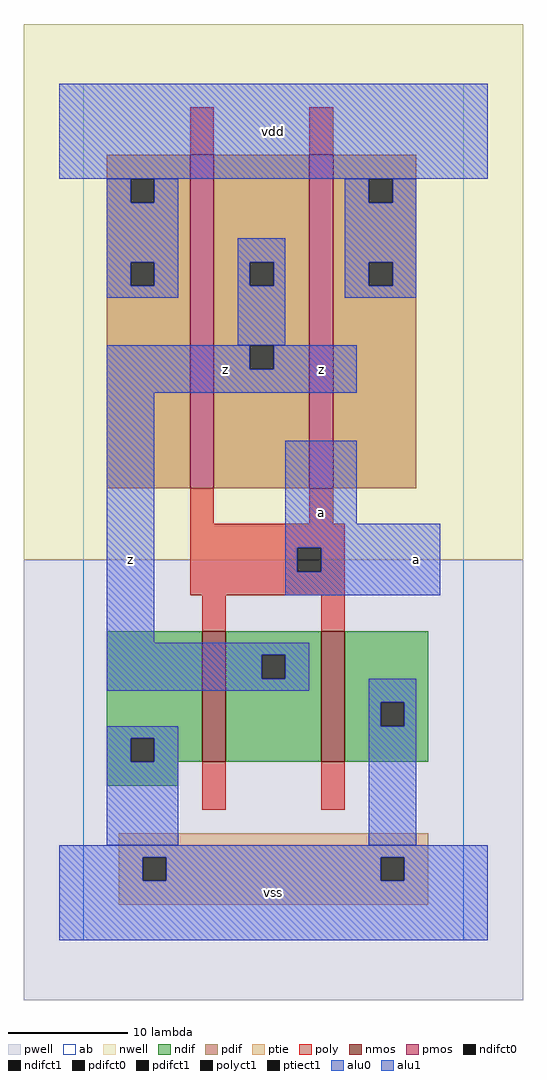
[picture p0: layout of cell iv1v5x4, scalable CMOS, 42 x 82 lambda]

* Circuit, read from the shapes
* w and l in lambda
.subckt iv1v5x4 a vdd vss z
M1 z a vss vss nfet w=11 l=2 m=2
M2 z a vdd n1 pfet w=28 l=2 m=2
.ends

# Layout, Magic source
magic
tech scmos
<< ab >>
rect 0 0 32 72
<< nwell >>
rect -5 32 37 77
<< pwell >>
rect -5 -5 37 32
<< poly >>
rect 9 66 11 70
rect 19 66 21 70
rect 9 35 11 38
rect 19 35 21 38
rect 9 33 22 35
rect 9 31 18 33
rect 20 31 22 33
rect 9 29 22 31
rect 10 26 12 29
rect 20 26 22 29
rect 10 11 12 15
rect 20 11 22 15
<< ndif >>
rect 2 17 10 26
rect 2 15 4 17
rect 6 15 10 17
rect 12 24 20 26
rect 12 22 15 24
rect 17 22 20 24
rect 12 15 20 22
rect 22 20 29 26
rect 22 18 25 20
rect 27 18 29 20
rect 22 15 29 18
rect 2 13 8 15
<< pdif >>
rect 2 64 9 66
rect 2 62 4 64
rect 6 62 9 64
rect 2 57 9 62
rect 2 55 4 57
rect 6 55 9 57
rect 2 38 9 55
rect 11 57 19 66
rect 11 55 14 57
rect 16 55 19 57
rect 11 50 19 55
rect 11 48 14 50
rect 16 48 19 50
rect 11 38 19 48
rect 21 64 28 66
rect 21 62 24 64
rect 26 62 28 64
rect 21 57 28 62
rect 21 55 24 57
rect 26 55 28 57
rect 21 38 28 55
<< alu1 >>
rect -2 64 34 72
rect 2 48 14 50
rect 16 48 23 50
rect 2 46 23 48
rect 2 25 6 46
rect 17 35 23 42
rect 17 33 30 35
rect 17 31 18 33
rect 20 31 30 33
rect 17 29 30 31
rect 2 24 19 25
rect 2 22 15 24
rect 17 22 19 24
rect 2 21 19 22
rect -2 7 34 8
rect -2 5 5 7
rect 7 5 25 7
rect 27 5 34 7
rect -2 0 34 5
<< ptie >>
rect 3 7 29 9
rect 3 5 5 7
rect 7 5 25 7
rect 27 5 29 7
rect 3 3 29 5
<< nmos >>
rect 10 15 12 26
rect 20 15 22 26
<< pmos >>
rect 9 38 11 66
rect 19 38 21 66
<< polyct1 >>
rect 18 31 20 33
<< ndifct0 >>
rect 4 15 6 17
rect 25 18 27 20
<< ndifct1 >>
rect 15 22 17 24
<< ptiect1 >>
rect 5 5 7 7
rect 25 5 27 7
<< pdifct0 >>
rect 4 62 6 64
rect 4 55 6 57
rect 14 55 16 57
rect 24 62 26 64
rect 24 55 26 57
<< pdifct1 >>
rect 14 48 16 50
<< alu0 >>
rect 2 62 4 64
rect 6 62 8 64
rect 2 57 8 62
rect 22 62 24 64
rect 26 62 28 64
rect 2 55 4 57
rect 6 55 8 57
rect 2 54 8 55
rect 13 57 17 59
rect 13 55 14 57
rect 16 55 17 57
rect 13 50 17 55
rect 22 57 28 62
rect 22 55 24 57
rect 26 55 28 57
rect 22 54 28 55
rect 24 20 28 22
rect 24 18 25 20
rect 27 18 28 20
rect 2 17 8 18
rect 2 15 4 17
rect 6 15 8 17
rect 2 8 8 15
rect 24 8 28 18
<< labels >>
rlabel alu1 4 32 4 32 6 z
rlabel alu1 12 48 12 48 6 z
rlabel alu1 16 4 16 4 6 vss
rlabel alu1 20 36 20 36 6 a
rlabel alu1 20 48 20 48 6 z
rlabel alu1 16 68 16 68 6 vdd
rlabel alu1 28 32 28 32 6 a
<< end >>
